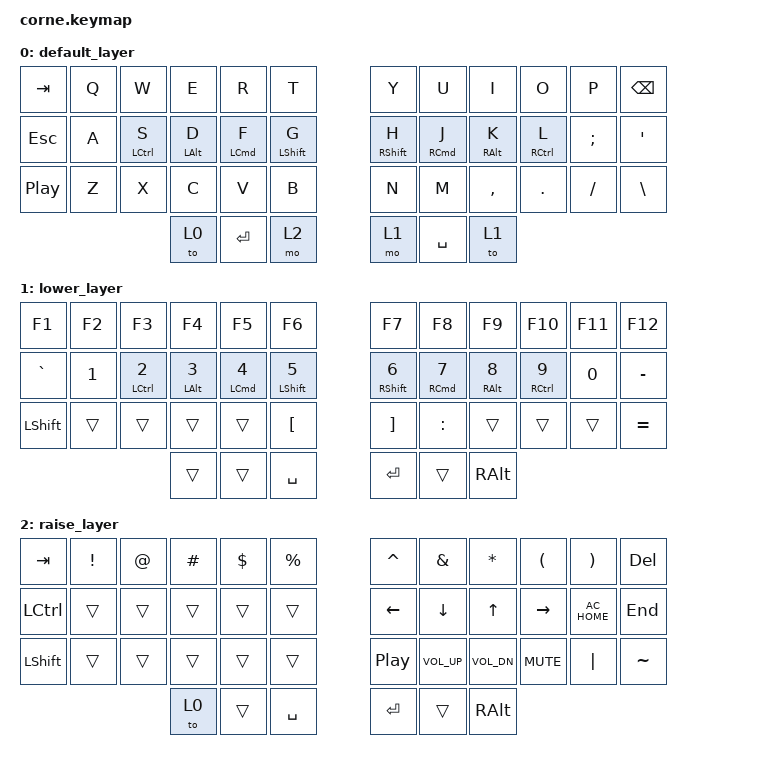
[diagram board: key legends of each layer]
/*
 * Copyright (c) 2020 The ZMK Contributors
 *
 * SPDX-License-Identifier: MIT
 */

#include <behaviors.dtsi>
#include <dt-bindings/zmk/keys.h>

/ {
    behaviors {
        HMR: HMR {
            compatible = "zmk,behavior-hold-tap";
            label = "HMR";
            bindings = <&kp>, <&kp>;

            #binding-cells = <2>;
            tapping-term-ms = <200>;
            quick-tap-ms = <175>;
            flavor = "tap-preferred";
            hold-trigger-key-positions = <0 1 2 3 15 12 13 14 15 16 17 24 25 26 27 28 29 36 37 38 39 4 5 40 41>;
            hold-trigger-on-release;
        };

        HML: HML {
            compatible = "zmk,behavior-hold-tap";
            label = "HML";
            bindings = <&kp>, <&kp>;

            #binding-cells = <2>;
            tapping-term-ms = <200>;
            quick-tap-ms = <175>;
            flavor = "tap-preferred";
            hold-trigger-key-positions = <37 38 36 6 7 8 9 10 11 18 19 20 21 22 23 30 31 32 33 34 35 39 40 41>;
            hold-trigger-on-release;
        };
    };

    keymap {
        compatible = "zmk,keymap";

        default_layer {
            // -----------------------------------------------------------------------------------------
            // |  TAB |  Q  |  W  |  E  |  R  |  T  |   |  Y  |  U   |  I  |  O  |  P  | BSPC |
            // | CTRL |  A  |  S  |  D  |  F  |  G  |   |  H  |  J   |  K  |  L  |  ;  |  '   |
            // | SHFT |  Z  |  X  |  C  |  V  |  B  |   |  N  |  M   |  ,  |  .  |  /  | ESC  |
            //                    | GUI | LWR | SPC |   | ENT | RSE  | ALT |

            bindings = <
&kp TAB           &kp Q  &kp W         &kp E            &kp R        &kp T           &kp Y         &kp U        &kp I        &kp O         &kp P     &kp BSPC
&kp ESC           &kp A  &HML LCTRL S  &HML LEFT_ALT D  &HML LCMD F  &HML LSHFT G    &HMR RSHFT H  &HMR RCMD J  &HMR RALT K  &HMR RCTRL L  &kp SEMI  &kp SQT
&kp C_PLAY_PAUSE  &kp Z  &kp X         &kp C            &kp V        &kp B           &kp N         &kp M        &kp COMMA    &kp DOT       &kp FSLH  &kp BACKSLASH
                                       &to 0            &kp ENTER    &mo 2           &mo 1         &kp SPACE    &to 1
            >;
        };

        lower_layer {
            // -----------------------------------------------------------------------------------------
            // |  TAB |  1  |  2  |  3  |  4  |  5  |   |  6  |  7  |  8  |  9  |  0  | BSPC |
            // | BTCLR| BT1 | BT2 | BT3 | BT4 | BT5 |   | LFT | DWN |  UP | RGT |     |      |
            // | SHFT |     |     |     |     |     |   |     |     |     |     |     |      |
            //                    | GUI |     | SPC |   | ENT |     | ALT |

            bindings = <
&kp F1     &kp F2        &kp F3               &kp F4              &kp F5              &kp F6            &kp F7                     &kp F8        &kp F9        &kp F10        &kp F11  &kp F12
&kp GRAVE  &kp NUMBER_1  &HML LCTRL NUMBER_2  &HML LALT NUMBER_3  &HML LCMD NUMBER_4  &HML LSHIFT N5    &HMR RIGHT_SHIFT NUMBER_6  &HMR RCMD N7  &HMR RALT N8  &HMR RCTRL N9  &kp N0   &kp MINUS
&kp LSHFT  &trans        &trans               &trans              &trans              &kp LBKT          &kp RIGHT_BRACKET          &kp COLON     &trans        &trans         &trans   &kp EQUAL
                                              &trans              &trans              &kp SPACE         &kp RET                    &trans        &kp RALT
            >;
        };

        raise_layer {
            // -----------------------------------------------------------------------------------------
            // |  TAB |  !  |  @  |  #  |  $  |  %  |   |  ^  |  &  |  *  |  (  |  )  | BSPC |
            // | CTRL |     |     |     |     |     |   |  -  |  =  |  [  |  ]  |  \  |  `   |
            // | SHFT |     |     |     |     |     |   |  _  |  +  |  {  |  }  | "|" |  ~   |
            //                    | GUI |     | SPC |   | ENT |     | ALT |

            bindings = <
&kp TAB    &kp EXCL  &kp AT  &kp HASH  &kp DLLR  &kp PRCNT    &kp CARET         &kp AMPS         &kp ASTRK     &kp LPAR    &kp RPAR       &kp DELETE
&kp LCTRL  &trans    &trans  &trans    &trans    &trans       &kp LEFT          &kp DOWN         &kp UP        &kp RIGHT   &kp C_AC_HOME  &kp END
&kp LSHFT  &trans    &trans  &trans    &trans    &trans       &kp C_PLAY_PAUSE  &kp C_VOLUME_UP  &kp C_VOL_DN  &kp C_MUTE  &kp PIPE       &kp TILDE
                             &to 0     &trans    &kp SPACE    &kp RET           &trans           &kp RALT
            >;
        };
    };
};
